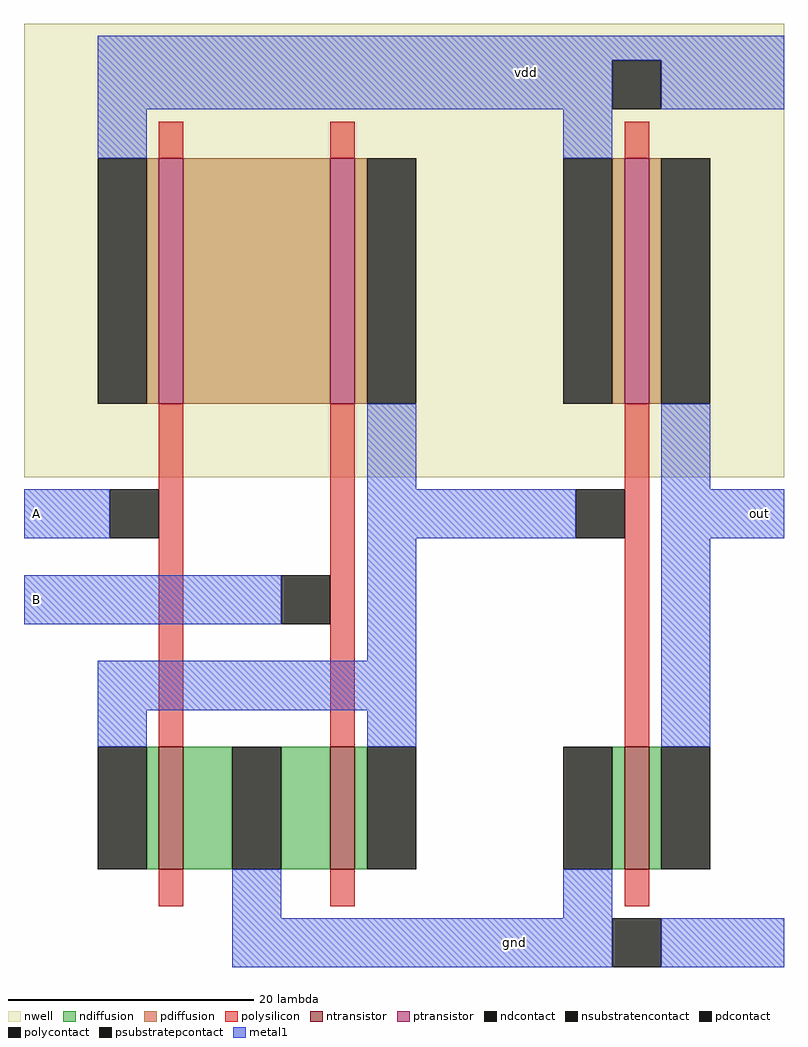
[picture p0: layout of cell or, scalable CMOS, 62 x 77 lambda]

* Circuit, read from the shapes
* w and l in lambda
.subckt or A B gnd out vdd
M1 gnd A n1 gnd nfet w=10 l=2
M2 n1 B gnd gnd nfet w=10 l=2
M3 out n1 gnd gnd nfet w=10 l=2
M4 n2 A vdd vdd pfet w=20 l=2
M5 n1 B n2 vdd pfet w=20 l=2
M6 out n1 vdd vdd pfet w=20 l=2
.ends

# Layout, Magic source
magic
tech scmos
<< nwell >>
rect -38 27 24 64
<< ntransistor >>
rect -27 -5 -25 5
rect -13 -5 -11 5
rect 11 -5 13 5
<< ptransistor >>
rect -27 33 -25 53
rect -13 33 -11 53
rect 11 33 13 53
<< ndiffusion >>
rect -28 -5 -27 5
rect -25 -5 -21 5
rect -17 -5 -13 5
rect -11 -5 -10 5
rect 10 -5 11 5
rect 13 -5 14 5
<< pdiffusion >>
rect -28 33 -27 53
rect -25 33 -13 53
rect -11 33 -10 53
rect 10 33 11 53
rect 13 33 14 53
<< ndcontact >>
rect -32 -5 -28 5
rect -21 -5 -17 5
rect -10 -5 -6 5
rect 6 -5 10 5
rect 14 -5 18 5
<< pdcontact >>
rect -32 33 -28 53
rect -10 33 -6 53
rect 6 33 10 53
rect 14 33 18 53
<< psubstratepcontact >>
rect 10 -13 14 -9
<< nsubstratencontact >>
rect 10 57 14 61
<< polysilicon >>
rect -27 53 -25 56
rect -13 53 -11 56
rect 11 53 13 56
rect -27 5 -25 33
rect -13 5 -11 33
rect 11 5 13 33
rect -27 -8 -25 -5
rect -13 -8 -11 -5
rect 11 -8 13 -5
<< polycontact >>
rect -31 22 -27 26
rect -17 15 -13 19
rect 7 22 11 26
<< metal1 >>
rect -32 61 24 63
rect -32 57 10 61
rect 14 57 24 61
rect -32 53 -28 57
rect 6 53 10 57
rect -10 26 -6 33
rect 14 26 18 33
rect -38 22 -31 26
rect -10 22 7 26
rect 14 22 24 26
rect -38 15 -17 19
rect -10 12 -6 22
rect -32 8 -6 12
rect -32 5 -28 8
rect -10 5 -6 8
rect 14 5 18 22
rect -21 -9 -17 -5
rect 6 -9 10 -5
rect -21 -13 10 -9
rect 14 -13 24 -9
<< labels >>
rlabel metal1 22 24 22 24 7 out
rlabel metal1 3 60 3 60 4 vdd
rlabel metal1 -37 24 -37 24 3 A
rlabel metal1 -37 17 -37 17 3 B
rlabel metal1 2 -11 2 -11 2 gnd
<< end >>
